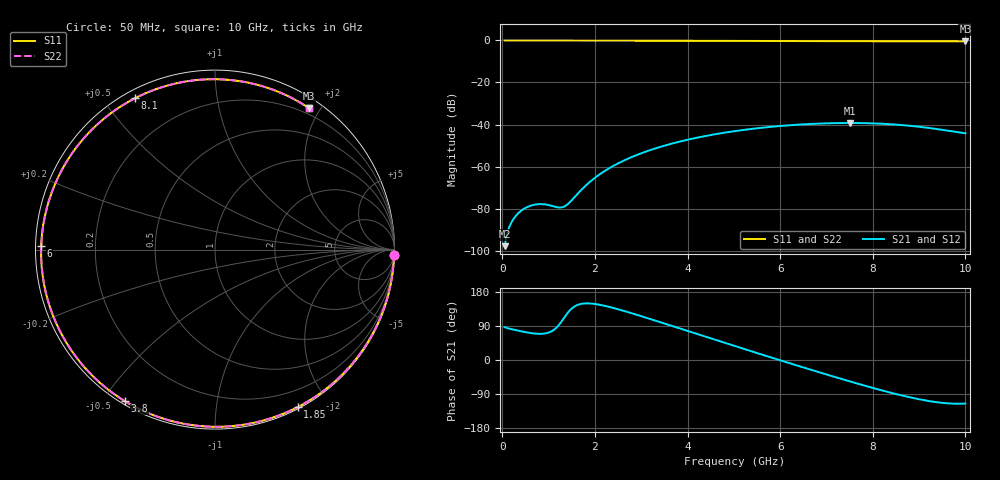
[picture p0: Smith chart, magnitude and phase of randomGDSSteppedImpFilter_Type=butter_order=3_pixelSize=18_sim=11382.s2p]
! freq	dB(S11)	phase(S11)	dB(S12)	phase(S12)
!  dB(S21)	phase(S21)	dB(S22)	phase(S22)
!S-par simulation data
#  GHz  S  DB  R 50
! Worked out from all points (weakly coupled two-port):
!   200 points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, 50 MHz to 10 GHz, reference 50 ohm
!   highest |S21| = -39.27 dB at 7.5 GHz (marker M1); lowest = -97.9 dB at 50 MHz (marker M2)
!   lowest |S11| = -0.5 dB at 10 GHz (marker M3), VSWR 36.31, Z = 6.12 + j92.7 ohm
!   |S11| at or under -10 dB: nowhere
!   |S22| runs from -0.5 to 0.0 dB; largest |S21 - S12| = 0
!   S11 on the Smith chart (normalised r, x): 50 MHz: 4, -65; 1.85 GHz: 0.02, -1.65; 3.8 GHz: 0.01, -0.57; 6 GHz: 0.02, +0.01; 8.1 GHz: 0.03, +0.60; 10 GHz: 0.12, +1.85
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0.05  -0.02 -1.8  -97.86 86.7  -97.86 86.7  -0.02 -1.8
0.45  -0.03 -15.6  -80.33 74.7  -80.33 74.7  -0.03 -15.6
0.8  -0.04 -27.5  -77.86 69.1  -77.86 69.1  -0.04 -27.5
1.3  -0.06 -44.4  -79.34 105.1  -79.34 105.1  -0.06 -44.4
1.45  -0.06 -49.3  -77.13 129.8  -77.13 129.8  -0.06 -49.3
1.75  -0.07 -59.1  -70.11 148.9  -70.11 148.9  -0.07 -59.1
1.85  -0.08 -62.3  -68.06 149.4  -68.06 149.4  -0.08 -62.3
2.15  -0.09 -71.8  -62.97 144.6  -62.97 144.6  -0.09 -71.8
2.5  -0.10 -82.6  -58.48 133.9  -58.48 133.9  -0.10 -82.6
2.95  -0.12 -96.2  -54.09 117.5  -54.09 117.5  -0.12 -96.2
3.4  -0.14 -109.3  -50.71 100.2  -50.71 100.2  -0.14 -109.3
3.8  -0.15 -120.7  -48.29 84.5  -48.29 84.5  -0.15 -120.7
4.45  -0.18 -138.8  -45.20 59.0  -45.20 59.0  -0.18 -138.8
5.05  -0.22 -155.2  -43.05 35.6  -43.05 35.6  -0.22 -155.2
6  -0.28 178.8  -40.70 -0.8  -40.70 -0.8  -0.28 178.8
6.7  -0.32 159.3  -39.69 -27.1  -39.69 -27.1  -0.32 159.2
7.5  -0.37 136.0  -39.27 -56.3  -39.27 -56.3  -0.37 136.0
8.1  -0.41 117.8  -39.54 -77.0  -39.54 -77.0  -0.41 117.8
8.35  -0.42 110.0  -39.82 -85.1  -39.82 -85.1  -0.42 110.0
8.8  -0.44 95.7  -40.59 -98.4  -40.59 -98.4  -0.44 95.7
9.2  -0.46 82.8  -41.59 -108.1  -41.59 -108.1  -0.46 82.8
10  -0.48 56.5  -44.18 -114.9  -44.18 -114.9  -0.48 56.5
